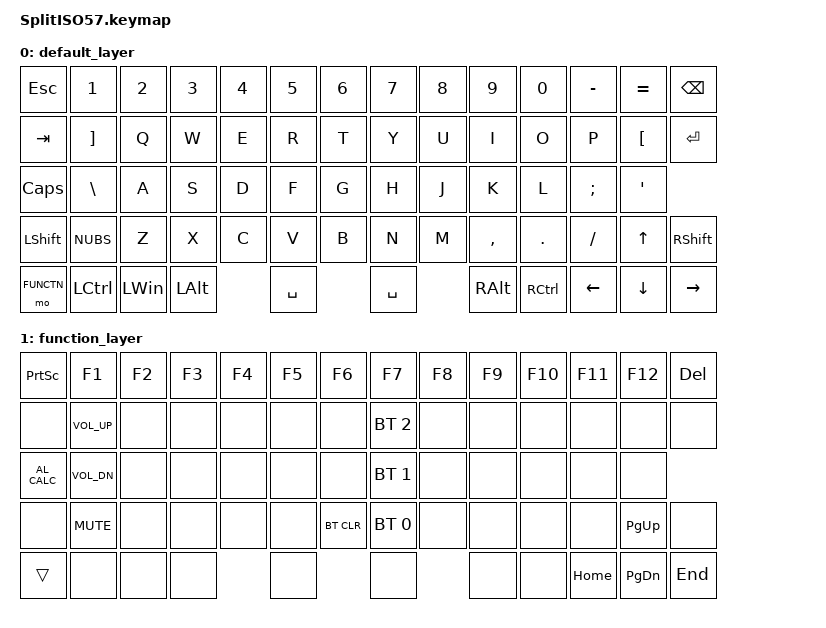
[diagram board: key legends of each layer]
// SplitISO57.keymap

#include <behaviors.dtsi>
#include <dt-bindings/zmk/keys.h>
#include <dt-bindings/zmk/bt.h>

#define DEFAULT  0
#define FUNCTN 1

/ {
    keymap {
        compatible = "zmk,keymap";

//  | ESC       |   1       |   2       |   3       |   4       |   5       |   6       |---|   7       |   8       |   9       |   0       |   +       |   ´       | BckSp     |
//  | Tab       |  ¨ ^      |   Q       |   W       |   E       |   R       |   T       |---|   Y       |   U       |   I       |   O       |   P       |   Å       | Enter     |
//  | CapsLock  |  ' *      |   A       |   S       |   D       |   F       |   G       |---|   H       |   J       |   K       |   L       |   Ö       |   Ä       |
//  | Shift     |  < >      |   Z       |   X       |   C       |   V       |   B       |---|   N       |   M       |  , ;      |  . :      |  - _      |   Up      | Shift     |
//  | Fn           |  Ctrl        |   Win        |   Alt        |         Space         |---|         Space         | AltGr     |  Ctrl     |  Left     |  Down     | Right     |

        default_layer {
            bindings = <
//  Column:    | 01            | 02            | 03            | 04            | 05            | 06            | 07        |---| 08            | 09            | 10            | 11            | 12            | 13            | 14           |
                &kp ESC         &kp N1          &kp N2          &kp N3          &kp N4          &kp N5          &kp N6          &kp N7          &kp N8          &kp N9          &kp N0          &kp MINUS       &kp EQUAL       &kp BACKSPACE
                &kp TAB         &kp RBKT        &kp Q           &kp W           &kp E           &kp R           &kp T           &kp Y           &kp U           &kp I           &kp O           &kp P           &kp LBKT        &kp ENTER
                &kp CAPS        &kp BSLH        &kp A           &kp S           &kp D           &kp F           &kp G           &kp H           &kp J           &kp K           &kp L           &kp SEMICOLON   &kp APOS
                &kp LSHIFT      &kp NUBS        &kp Z           &kp X           &kp C           &kp V           &kp B           &kp N           &kp M           &kp COMMA       &kp PERIOD      &kp SLASH       &kp UP          &kp RSHIFT
                &mo FUNCTN      &kp LCTRL       &kp LWIN        &kp LALT                        &kp SPACE                       &kp SPACE                       &kp RALT        &kp RCTRL       &kp LEFT        &kp DOWN        &kp RIGHT
            >;
        };

        function_layer {
            bindings = <
//  Column:    | 01           | 02            | 03            | 04             | 05            | 06            | 07        |---| 08            | 09            | 10            | 11            | 12            | 13            | 14           |
                &kp PSCRN       &kp F1          &kp F2          &kp F3          &kp F4          &kp F5          &kp F6          &kp F7          &kp F8          &kp F9          &kp F10         &kp F11         &kp F12         &kp DELETE
                &none           &kp C_VOL_UP    &none           &none           &none           &none           &none           &bt BT_SEL 2    &none           &none           &none           &none           &none           &none
                &kp C_AL_CALC   &kp C_VOL_DN    &none           &none           &none           &none           &none           &bt BT_SEL 1    &none           &none           &none           &none           &none
                &none           &kp C_MUTE      &none           &none           &none           &none           &bt BT_CLR      &bt BT_SEL 0    &none           &none           &none           &none           &kp PG_UP       &none
                &trans          &none           &none           &none                           &none                           &none                           &none           &none           &kp HOME        &kp PG_DN       &kp END
            >;
        };
    };
};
